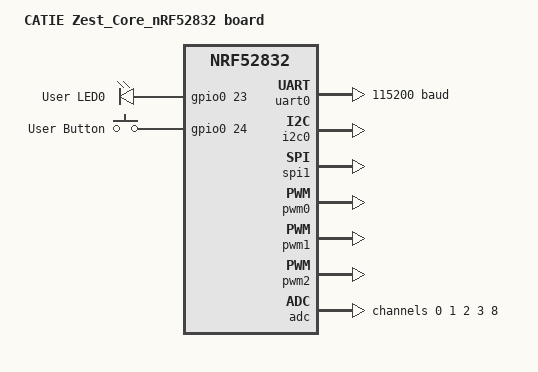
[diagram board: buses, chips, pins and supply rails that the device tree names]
/*
 * Copyright (c) 2024 CATIE
 * SPDX-License-Identifier: Apache-2.0
 */

/dts-v1/;
#include <nordic/nrf52832_qfaa.dtsi>
#include "zest_core_nrf52832-pinctrl.dtsi"
#include <zephyr/dt-bindings/input/input-event-codes.h>
#include "sixtron_connector.dtsi"

/ {
	model = "CATIE Zest_Core_nRF52832 board";
	compatible = "catie,zest-core-nrf52832";

	chosen {
		zephyr,console = &uart0;
		zephyr,shell-uart = &uart0;
		zephyr,bt-mon-uart = &uart0;
		zephyr,bt-c2h-uart = &uart0;
		zephyr,sram = &sram0;
		zephyr,flash = &flash0;
	};

	leds {
		compatible = "gpio-leds";
		led_0: led_0 {
			gpios = <&gpio0 23 GPIO_ACTIVE_HIGH>;
			label = "User LED0";
		};
	};

	gpio_keys {
		compatible = "gpio-keys";
		user_button: button {
			label = "User Button";
			gpios = <&gpio0 24 GPIO_ACTIVE_HIGH>;
			zephyr,code = <INPUT_BTN_0>;
		};
	};

	aliases {
		led0 = &led_0;
		sw0 = &user_button;
	};
};

&uicr {
	gpio-as-nreset;
};

&gpio0 {
	status = "okay";
};

&gpiote0 {
	status = "okay";
};

&uart0 {
	status = "okay";
	compatible = "nordic,nrf-uarte";
	current-speed = <115200>;
	pinctrl-0 = <&uart0_default>;
	pinctrl-1 = <&uart0_sleep>;
	pinctrl-names = "default", "sleep";
};

&i2c0 {
	compatible = "nordic,nrf-twi";
	status = "okay";
	pinctrl-0 = <&i2c0_default>;
	pinctrl-1 = <&i2c0_sleep>;
	pinctrl-names = "default", "sleep";
};

&spi1 {
	compatible = "nordic,nrf-spi";
	status = "okay";
	cs-gpios = <&gpio0 6 GPIO_ACTIVE_LOW>;
	pinctrl-0 = <&spi1_default>;
	pinctrl-1 = <&spi1_sleep>;
	pinctrl-names = "default", "sleep";
};

&pwm0 {
	status = "okay";
	pinctrl-0 = <&pwm0_default>;
	pinctrl-1 = <&pwm0_sleep>;
	pinctrl-names = "default", "sleep";
};

&pwm1 {
	status = "okay";
	pinctrl-0 = <&pwm1_default>;
	pinctrl-1 = <&pwm1_sleep>;
	pinctrl-names = "default", "sleep";
};

&pwm2 {
	status = "okay";
	pinctrl-0 = <&pwm2_default>;
	pinctrl-1 = <&pwm2_sleep>;
	pinctrl-names = "default", "sleep";
};

&adc {
	status = "okay";
	#address-cells = <1>;
	#size-cells = <0>;

	channel@0 {
		reg = <0>;
		zephyr,gain = "ADC_GAIN_1_4";
		zephyr,reference = "ADC_REF_VDD_1_4";
		zephyr,vref-mv = <825>; /* Default value, seek channel@8 to measure VDD reference */
		zephyr,acquisition-time = <ADC_ACQ_TIME_DEFAULT>;
		zephyr,input-positive = <NRF_SAADC_AIN0>;
		zephyr,resolution = <12>;
	};

	channel@1 {
		reg = <1>;
		zephyr,gain = "ADC_GAIN_1_4";
		zephyr,reference = "ADC_REF_VDD_1_4";
		zephyr,vref-mv = <825>; /* Default value, seek channel@8 to measure VDD reference */
		zephyr,acquisition-time = <ADC_ACQ_TIME_DEFAULT>;
		zephyr,input-positive = <NRF_SAADC_AIN1>;
		zephyr,resolution = <12>;
	};

	channel@2 {
		reg = <2>;
		zephyr,gain = "ADC_GAIN_1_4";
		zephyr,reference = "ADC_REF_VDD_1_4";
		zephyr,vref-mv = <825>; /* Default value, seek channel@8 to measure VDD reference */
		zephyr,acquisition-time = <ADC_ACQ_TIME_DEFAULT>;
		zephyr,input-positive = <NRF_SAADC_AIN2>;
		zephyr,resolution = <12>;
	};

	channel@3 {
		reg = <3>;
		zephyr,gain = "ADC_GAIN_1_4";
		zephyr,reference = "ADC_REF_VDD_1_4";
		zephyr,vref-mv = <825>; /* Default value, seek channel@8 to measure VDD reference */
		zephyr,acquisition-time = <ADC_ACQ_TIME_DEFAULT>;
		zephyr,input-positive = <NRF_SAADC_AIN3>;
		zephyr,resolution = <12>;
	};

	channel@8 { /* Channel used to measure VDD reference */
		reg = <8>;
		zephyr,gain = "ADC_GAIN_1_6";
		zephyr,reference = "ADC_REF_INTERNAL";
		zephyr,acquisition-time = <ADC_ACQ_TIME_DEFAULT>;
		zephyr,input-positive = <NRF_SAADC_VDD>;
		zephyr,resolution = <12>;
	};
};
